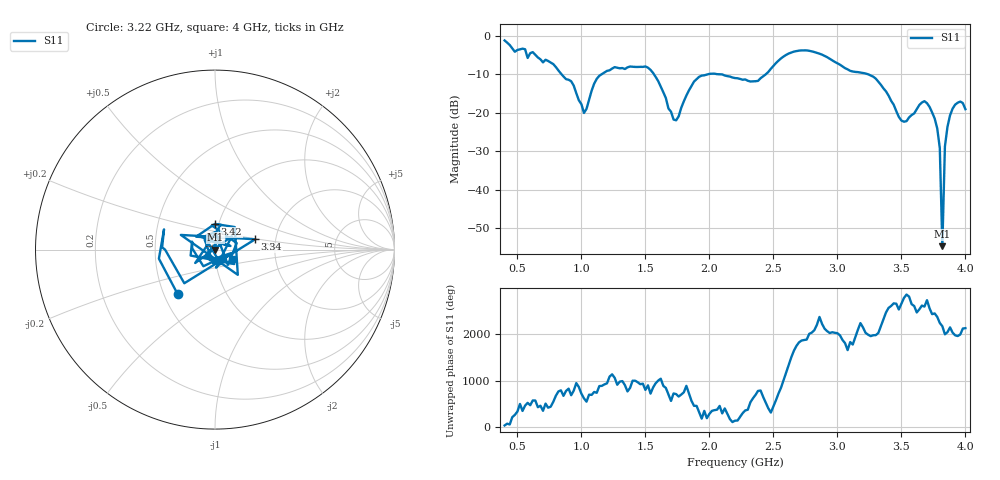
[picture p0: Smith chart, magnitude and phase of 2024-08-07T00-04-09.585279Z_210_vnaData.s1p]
!Created with skrf (http://scikit-rf.org).
# Hz S RI R 50.0
!freq ReS11 ImS11
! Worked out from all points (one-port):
!   181 points, 400 MHz to 4 GHz, reference 50 ohm
!   lowest |S11| = -54.7 dB at 3.82 GHz (marker M1), VSWR 1.00, Z = 50.2 + j0.0402 ohm
!   |S11| at or under -10 dB: 1.567 GHz to 1.988 GHz (420.9 MHz wide, 23.7 % of centre); 2.08 GHz to 2.44 GHz (360.3 MHz wide, 15.9 % of centre); 3.241 GHz to end of sweep (the widest 3 of 4)
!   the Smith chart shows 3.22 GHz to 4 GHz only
!   S11 on the Smith chart (normalised r, x): 3.22 GHz: 0.59, -0.33; 3.34 GHz: 1.56, +0.19; 3.42 GHz: 0.96, +0.28; 4 GHz: 1.21, -0.13
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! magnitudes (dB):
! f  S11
! 400 MHz  -1.2
! 860 MHz  -10.6
! 940 MHz  -12.9
! 1.02 GHz  -20.1
! 1.12 GHz  -11.2
! 1.3 GHz  -8.4
! 1.52 GHz  -8.3
! 1.6 GHz  -11.8
! 1.72 GHz  -21.8
! 1.76 GHz  -20.9
! 1.92 GHz  -10.6
! 2.2 GHz  -11.0
! 2.38 GHz  -11.7
! 2.66 GHz  -4.1
! 3.1 GHz  -9.1
! 3.22 GHz  -9.8
! 3.34 GHz  -12.7
! 3.42 GHz  -16.9
! 3.5 GHz  -22.0
! 3.56 GHz  -21.2
! 3.68 GHz  -17.0
! 3.78 GHz  -24.1
! 3.8 GHz  -29.2
! 3.82 GHz  -54.7
! 3.84 GHz  -28.8
! 3.86 GHz  -23.7
! 3.92 GHz  -17.9
! 4 GHz  -19.1
